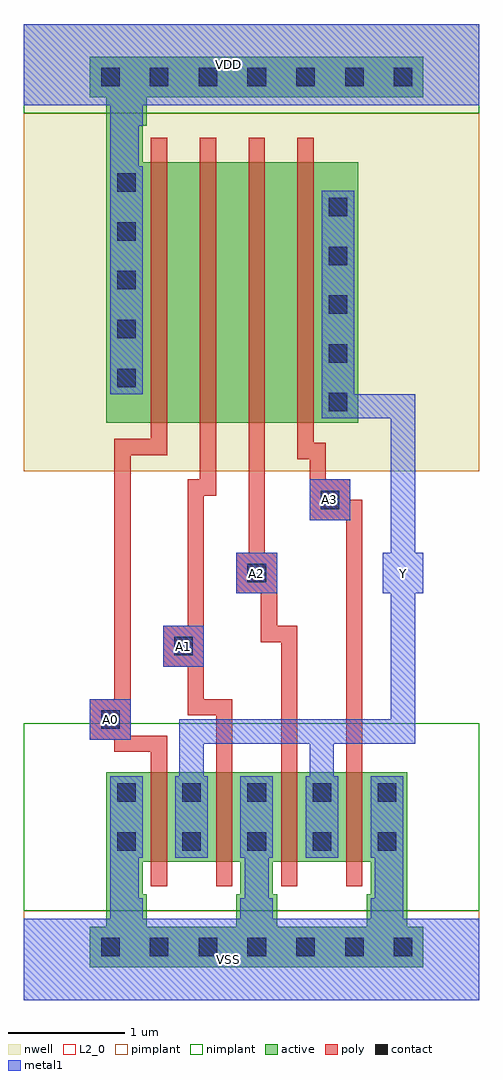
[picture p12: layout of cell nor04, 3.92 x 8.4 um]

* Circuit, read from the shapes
.subckt nor04 A0 A1 A2 A3 VDD VSS Y
M1 Y A0 VSS VSS nfet w=0.77u l=0.14u
M2 VSS A1 Y VSS nfet w=0.77u l=0.14u
M3 Y A2 VSS VSS nfet w=0.77u l=0.14u
M4 VSS A3 Y VSS nfet w=0.77u l=0.14u
M5 n1 A0 VDD VDD pfet w=2.24u l=0.14u
M6 n2 A1 n1 VDD pfet w=2.24u l=0.14u
M7 n3 A2 n2 VDD pfet w=2.24u l=0.14u
M8 Y A3 n3 VDD pfet w=2.24u l=0.14u
.ends

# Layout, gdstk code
from math import pi, radians
import gdstk
lib = gdstk.Library(unit=1e-6, precision=1e-09)
def R(c, l, rs):  # rectangles x0, y0, x1, y1
    for r in rs: c.add(gdstk.rectangle(r[:2], r[2:], *l))
def A(c, l, x, y, w, h, nx, ny, dx, dy):  # array of equal rectangles
    R(c, l, [(x+i*dx, y+j*dy, x+i*dx+w, y+j*dy+h) for i in range(nx) for j in range(ny)])
def P(c, l, *ps):  # polygons
    for p in ps: c.add(gdstk.Polygon(p, *l))
L2_0 = (2, 0)
nwell = (3, 0)
active = (6, 0)
poly = (17, 0)
pimplant = (25, 0)
nimplant = (26, 0)
contact = (30, 0)
metal1 = (31, 0)

adk_poly_m1 = lib.new_cell('ADK_poly_m1')
R(adk_poly_m1, poly, [(-0.175,-0.175,0.175,0.175)])
R(adk_poly_m1, contact, [(-0.08,-0.08,0.08,0.08)])
R(adk_poly_m1, metal1, [(-0.175,-0.175,0.175,0.175)])

nor04 = lib.new_cell('nor04')
R(nor04, L2_0, [(0,0,3.92,2.38)])
R(nor04, nwell, [(0,4.55,3.92,8.4), (0,4.55,3.3,7.63)])
A(nor04, active, 0.71, 0.63, 0.35, 0.28, 3, 1, 1.12, 0)
R(nor04, active, [(0.57,0.28,3.44,0.63), (0.71,0.91,1.025,1.19), (1.865,0.91,2.145,1.19), (2.985,0.91,3.3,1.19), (0.71,1.19,1.095,1.96), (0.71,1.19,3.3,1.96), (2.915,1.19,3.3,1.96), (0.71,4.97,1.095,7.21), (0.71,4.97,2.88,7.21), (2.495,4.97,2.88,7.21), (0.71,7.21,1.025,7.525), (0.71,7.525,1.06,7.77), (0.57,7.77,3.44,8.12)])
A(nor04, poly, 1.095, 0.98, 0.14, 0.21, 4, 2, 0.56, 0.98)
A(nor04, poly, 1.095, 1.19, 0.14, 0.77, 4, 1, 0.56, 0)
A(nor04, poly, 1.095, 4.76, 0.14, 0.21, 4, 2, 0.42, 2.45)
A(nor04, poly, 1.095, 4.97, 0.14, 2.24, 4, 1, 0.42, 0)
R(nor04, poly, [(2.775,2.135,2.915,4.305), (1.935,3.85,2.075,4.795)])
P(nor04, poly, [(1.41,3.22),(1.55,3.22),(1.55,4.34),(1.655,4.34),(1.655,4.795),(1.515,4.795),(1.515,4.48),(1.41,4.48)],
  [(0.78,2.59),(0.92,2.59),(0.92,4.69),(1.235,4.69),(1.235,4.83),(0.78,4.83)],
  [(2.355,4.655),(2.46,4.655),(2.46,4.48),(2.6,4.48),(2.6,4.795),(2.355,4.795)],
  [(2.355,3.22),(2.18,3.22),(2.18,3.5),(2.04,3.5),(2.04,3.08),(2.215,3.08),(2.215,2.135),(2.355,2.135)],
  [(1.41,2.45),(1.655,2.45),(1.655,2.135),(1.795,2.135),(1.795,2.59),(1.55,2.59),(1.55,2.87),(1.41,2.87)],
  [(0.78,2.135),(1.235,2.135),(1.235,2.275),(0.92,2.275),(0.92,2.24),(0.78,2.24)])
R(nor04, pimplant, [(0,0,3.92,0.77), (0,4.55,3.92,7.63)])
R(nor04, nimplant, [(0,0.77,3.92,2.38), (0,7.63,3.92,8.4)])
A(nor04, contact, 0.665, 0.375, 0.16, 0.16, 7, 2, 0.42, 7.49)
A(nor04, contact, 0.805, 1.285, 0.16, 0.16, 5, 2, 0.56, 0.42)
A(nor04, contact, 2.625, 5.065, 0.16, 0.16, 1, 5, 0, 0.42)
A(nor04, contact, 0.805, 5.275, 0.16, 0.16, 1, 5, 0, 0.42)
A(nor04, metal1, 0.745, 0.7, 0.28, 0.175, 3, 1, 1.12, 0)
A(nor04, metal1, 0.745, 1.225, 0.28, 0.7, 5, 1, 0.56, 0)
R(nor04, metal1, [(0,0,3.92,0.7), (0.745,0.875,0.99,1.225), (1.9,0.875,2.11,1.225), (3.02,0.875,3.265,1.225), (0.57,2.24,0.92,2.59), (1.2,2.87,1.55,3.22), (1.83,3.5,2.18,3.85), (3.09,3.5,3.44,3.85), (3.09,3.5,3.44,3.85), (2.46,4.13,2.81,4.48), (2.565,5.005,2.845,6.965), (0.745,5.215,1.025,7.175), (0.745,7.175,0.99,7.525), (0.745,7.525,1.025,7.7), (0,7.7,3.92,8.4)])
P(nor04, metal1, [(2.46,2.415),(1.34,2.415),(1.34,1.925),(1.55,1.925),(1.55,2.205),(2.46,2.205)],
  [(3.37,3.5),(3.16,3.5),(3.16,2.415),(2.46,2.415),(2.46,1.925),(2.67,1.925),(2.67,2.205),(3.37,2.205)],
  [(3.37,5.215),(2.845,5.215),(2.845,5.005),(3.16,5.005),(3.16,3.85),(3.37,3.85)])
nor04.add(gdstk.Reference(adk_poly_m1, (0.745,2.415), rotation=pi, x_reflection=True))
nor04.add(gdstk.Reference(adk_poly_m1, (1.375,3.045), rotation=pi, x_reflection=True))
nor04.add(gdstk.Reference(adk_poly_m1, (2.005,3.675), rotation=pi, x_reflection=True))
nor04.add(gdstk.Reference(adk_poly_m1, (2.635,4.305), rotation=pi, x_reflection=True))
nor04.add(gdstk.Label('A1', (1.375,3.045), layer=131, texttype=0))
nor04.add(gdstk.Label('Y', (3.265,3.675), layer=131, texttype=0))
nor04.add(gdstk.Label('A0', (0.745,2.415), layer=131, texttype=0))
nor04.add(gdstk.Label('VSS', (1.76,0.35), layer=131, texttype=0))
nor04.add(gdstk.Label('VDD', (1.76,8.05), layer=131, texttype=0))
nor04.add(gdstk.Label('A2', (2.005,3.675), layer=131, texttype=0))
nor04.add(gdstk.Label('A3', (2.635,4.305), layer=131, texttype=0))

lib.write_gds('nor04.gds')
